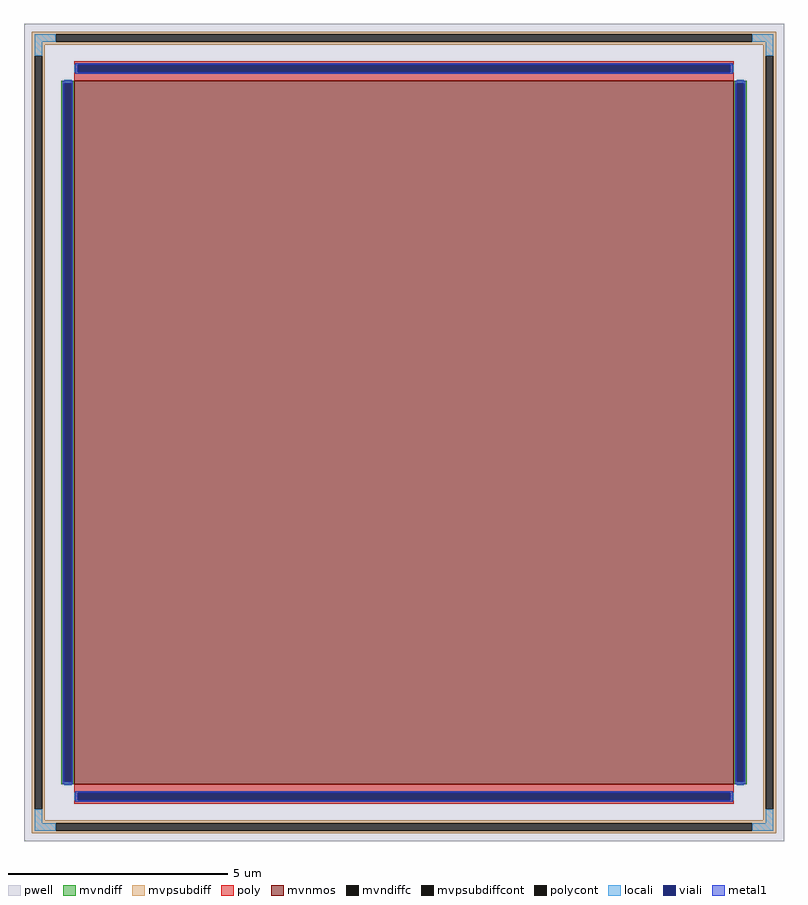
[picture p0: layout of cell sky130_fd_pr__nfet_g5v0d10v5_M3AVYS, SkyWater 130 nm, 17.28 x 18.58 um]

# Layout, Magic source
magic
tech sky130A
<< pwell >>
rect -864 -929 864 929
<< mvnmos >>
rect -750 -800 750 800
<< mvndiff >>
rect -779 794 -750 800
rect -779 -794 -773 794
rect -756 -794 -750 794
rect -779 -800 -750 -794
rect 750 794 779 800
rect 750 -794 756 794
rect 773 -794 779 794
rect 750 -800 779 -794
<< mvndiffc >>
rect -773 -794 -756 794
rect 756 -794 773 794
<< mvpsubdiff >>
rect -846 905 846 911
rect -846 888 -792 905
rect 792 888 846 905
rect -846 882 846 888
rect -846 857 -817 882
rect -846 -857 -840 857
rect -823 -857 -817 857
rect 817 857 846 882
rect -846 -882 -817 -857
rect 817 -857 823 857
rect 840 -857 846 857
rect 817 -882 846 -857
rect -846 -888 846 -882
rect -846 -905 -792 -888
rect 792 -905 846 -888
rect -846 -911 846 -905
<< mvpsubdiffcont >>
rect -792 888 792 905
rect -840 -857 -823 857
rect 823 -857 840 857
rect -792 -905 792 -888
<< poly >>
rect -750 836 750 844
rect -750 819 -742 836
rect 742 819 750 836
rect -750 800 750 819
rect -750 -819 750 -800
rect -750 -836 -742 -819
rect 742 -836 750 -819
rect -750 -844 750 -836
<< polycont >>
rect -742 819 742 836
rect -742 -836 742 -819
<< locali >>
rect -840 888 -792 905
rect 792 888 840 905
rect -840 857 -823 888
rect 823 857 840 888
rect -750 819 -742 836
rect 742 819 750 836
rect -773 794 -756 802
rect -773 -802 -756 -794
rect 756 794 773 802
rect 756 -802 773 -794
rect -750 -836 -742 -819
rect 742 -836 750 -819
rect -840 -888 -823 -857
rect 823 -888 840 -857
rect -840 -905 -792 -888
rect 792 -905 840 -888
<< viali >>
rect -742 819 742 836
rect -773 -794 -756 794
rect 756 -794 773 794
rect -742 -836 742 -819
<< metal1 >>
rect -748 836 748 839
rect -748 819 -742 836
rect 742 819 748 836
rect -748 816 748 819
rect -776 794 -753 800
rect -776 -794 -773 794
rect -756 -794 -753 794
rect -776 -800 -753 -794
rect 753 794 776 800
rect 753 -794 756 794
rect 773 -794 776 794
rect 753 -800 776 -794
rect -748 -819 748 -816
rect -748 -836 -742 -819
rect 742 -836 748 -819
rect -748 -839 748 -836
<< properties >>
string FIXED_BBOX -831 -896 831 896
string gencell sky130_fd_pr__nfet_g5v0d10v5
string library sky130
string parameters w 16.0 l 15.0 m 1 nf 1 diffcov 100 polycov 100 guard 1 glc 1 grc 1 gtc 1 gbc 1 tbcov 100 rlcov 100 topc 1 botc 1 poverlap 0 doverlap 1 lmin 0.50 wmin 0.42 compatible {sky130_fd_pr__nfet_01v8 sky130_fd_pr__nfet_01v8_lvt  sky130_fd_bs_flash__special_sonosfet_star  sky130_fd_pr__nfet_g5v0d10v5 sky130_fd_pr__nfet_05v0_nvt  sky130_fd_pr__nfet_03v3_nvt} full_metal 1 viasrc 100 viadrn 100 viagate 100 viagb 0 viagr 0 viagl 0 viagt 0
<< end >>
